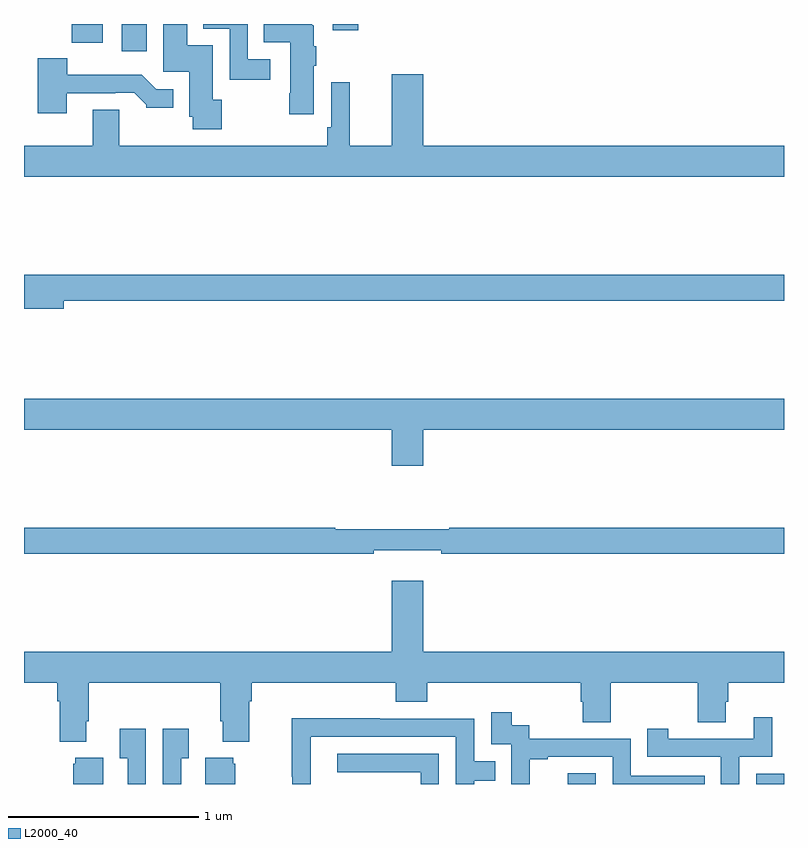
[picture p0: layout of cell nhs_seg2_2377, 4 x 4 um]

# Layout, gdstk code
import gdstk
lib = gdstk.Library(unit=1e-6, precision=1e-09)
def R(c, l, rs):  # rectangles x0, y0, x1, y1
    for r in rs: c.add(gdstk.rectangle(r[:2], r[2:], *l))
def P(c, l, *ps):  # polygons
    for p in ps: c.add(gdstk.Polygon(p, *l))
L2000_40 = (2000, 40)

nhs_seg2_2377 = lib.new_cell('nhs_seg2_2377')
R(nhs_seg2_2377, L2000_40, [(237.861,617.8,238.008,617.857), (238.854,617.8,239,617.853), (235.514,621.657,235.645,621.8), (235.252,621.701,235.414,621.8), (236.624,621.768,236.759,621.8)])
P(nhs_seg2_2377, L2000_40, [(236.04,621.402),(235.993,621.402),(235.993,621.688),(235.858,621.688),(235.858,621.8),(235.733,621.8),(235.733,621.549),(235.871,621.549),(235.871,621.312),(235.888,621.312),(235.888,621.246),(236.04,621.246)],
  [(236.296,621.615),(236.178,621.615),(236.178,621.8),(235.943,621.8),(235.943,621.776),(236.082,621.776),(236.082,621.507),(236.296,621.507)],
  [(236.524,621.58),(236.537,621.58),(236.537,621.683),(236.524,621.683),(236.524,621.79),(236.514,621.8),(236.263,621.8),(236.263,621.704),(236.402,621.704),(236.402,621.436),(236.395,621.436),(236.395,621.324),(236.524,621.324)],
  [(235.225,621.435),(235.481,621.435),(235.481,621.438),(235.58,621.438),(235.644,621.374),(235.644,621.359),(235.786,621.359),(235.786,621.456),(235.695,621.456),(235.619,621.532),(235.228,621.532),(235.228,621.619),(235.073,621.619),(235.073,621.33),(235.225,621.33)],
  [(239,621.16),(237.1,621.16),(237.1,621.535),(236.936,621.535),(236.936,621.16),(236.715,621.16),(236.715,621.493),(236.616,621.493),(236.616,621.256),(236.596,621.256),(236.596,621.16),(235.501,621.16),(235.501,621.35),(235.361,621.35),(235.361,621.16),(235,621.16),(235,620.996),(239,620.996)],
  [(235.21,620.344),(239,620.344),(239,620.48),(235,620.48),(235,620.302),(235.21,620.302)],
  [(237.1,619.664),(239,619.664),(239,619.828),(235,619.828),(235,619.664),(236.936,619.664),(236.936,619.476),(237.1,619.476)],
  [(236.84,619.031),(237.196,619.031),(237.196,619.012),(239,619.012),(239,619.148),(237.238,619.148),(237.238,619.141),(236.638,619.141),(236.638,619.148),(235,619.148),(235,619.012),(236.84,619.012)],
  [(237.1,618.871),(236.936,618.871),(236.936,618.496),(235,618.496),(235,618.332),(235.175,618.332),(235.175,618.236),(235.187,618.236),(235.187,618.023),(235.327,618.023),(235.327,618.13),(235.34,618.13),(235.34,618.332),(236.033,618.332),(236.033,618.13),(236.045,618.13),(236.045,618.023),(236.185,618.023),(236.185,618.236),(236.198,618.236),(236.198,618.332),(236.957,618.332),(236.957,618.233),(237.122,618.233),(237.122,618.332),(237.929,618.332),(237.929,618.234),(237.941,618.234),(237.941,618.124),(238.089,618.124),(238.089,618.332),(238.546,618.332),(238.546,618.124),(238.693,618.124),(238.693,618.234),(238.706,618.234),(238.706,618.332),(239,618.332),(239,618.496),(237.1,618.496)],
  [(237.662,617.931),(237.757,617.931),(237.757,617.943),(238.098,617.943),(238.098,617.8),(238.583,617.8),(238.583,617.844),(238.194,617.844),(238.194,618.039),(237.66,618.039),(237.66,618.108),(237.568,618.108),(237.568,618.178),(237.459,618.178),(237.459,618.009),(237.564,618.009),(237.564,617.8),(237.662,617.8)],
  [(238.764,617.943),(238.938,617.943),(238.938,618.151),(238.841,618.151),(238.841,618.039),(238.39,618.039),(238.39,618.091),(238.279,618.091),(238.279,617.943),(238.668,617.943),(238.668,617.8),(238.764,617.8)],
  [(236.508,618.048),(237.273,618.048),(237.273,617.8),(237.369,617.8),(237.369,617.818),(237.479,617.818),(237.479,617.919),(237.369,617.919),(237.369,618.144),(236.873,618.144),(236.873,618.146),(236.41,618.146),(236.41,617.839),(236.412,617.839),(236.412,617.8),(236.508,617.8)],
  [(235.827,617.935),(235.867,617.935),(235.867,618.091),(235.731,618.091),(235.731,617.8),(235.827,617.8)],
  [(235.641,618.091),(235.505,618.091),(235.505,617.935),(235.545,617.935),(235.545,617.8),(235.641,617.8)],
  [(237.183,617.958),(236.649,617.958),(236.649,617.862),(237.087,617.862),(237.087,617.8),(237.183,617.8)],
  [(235.417,617.938),(235.271,617.938),(235.271,617.907),(235.259,617.907),(235.259,617.8),(235.417,617.8)],
  [(236.113,617.907),(236.102,617.907),(236.102,617.938),(235.955,617.938),(235.955,617.8),(236.113,617.8)])

lib.write_gds('nhs_seg2_2377.gds')
